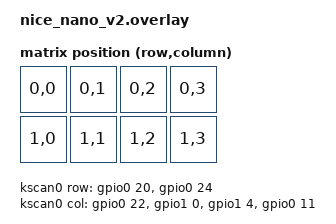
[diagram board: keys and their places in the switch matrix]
kscan0: kscan_0 {
        compatible = "zmk,kscan-gpio-matrix";
        label = "KSCAN";
        diode-direction = "row2col"; /* <--- Khớp đúng chiều diode đi từ Row sang Col thực tế */
        
        row-gpios
            = <&gpio0 20 (GPIO_ACTIVE_HIGH | GPIO_PULL_DOWN)> 
            , <&gpio0 24 (GPIO_ACTIVE_HIGH | GPIO_PULL_DOWN)> 
            ;
        col-gpios
            = <&gpio0 22 GPIO_ACTIVE_HIGH> 
            , <&gpio1 0  GPIO_ACTIVE_HIGH> 
            , <&gpio1 4  GPIO_ACTIVE_HIGH> 
            , <&gpio0 11 GPIO_ACTIVE_HIGH> 
            ;
    };

    default_transform: keymap_transform_0 {
        compatible = "zmk,matrix-transform";
        columns = <4>;
        rows = <2>;
        map = <
            RC(0,0) RC(0,1) RC(0,2) RC(0,3)
            RC(1,0) RC(1,1) RC(1,2) RC(1,3)
        >;
    };

    physical_layout0: physical_layout_0 {
        compatible = "zmk,physical-layout";
        display-name = "Macropad V2";
        kscan = <&kscan0>;
        transform = <&default_transform>;
        keys 
            = <&key_physical_attrs 100 100 0 0 0 0 0>    
            , <&key_physical_attrs 100 100 100 0 0 0 0>  
            , <&key_physical_attrs 100 100 200 0 0 0 0>  
            , <&key_physical_attrs 100 100 300 0 0 0 0>  
            , <&key_physical_attrs 100 100 0 100 0 0 0>  
            , <&key_physical_attrs 100 100 100 100 0 0 0>
            , <&key_physical_attrs 100 100 200 100 0 0 0>
            , <&key_physical_attrs 100 100 300 100 0 0 0>;
    };
